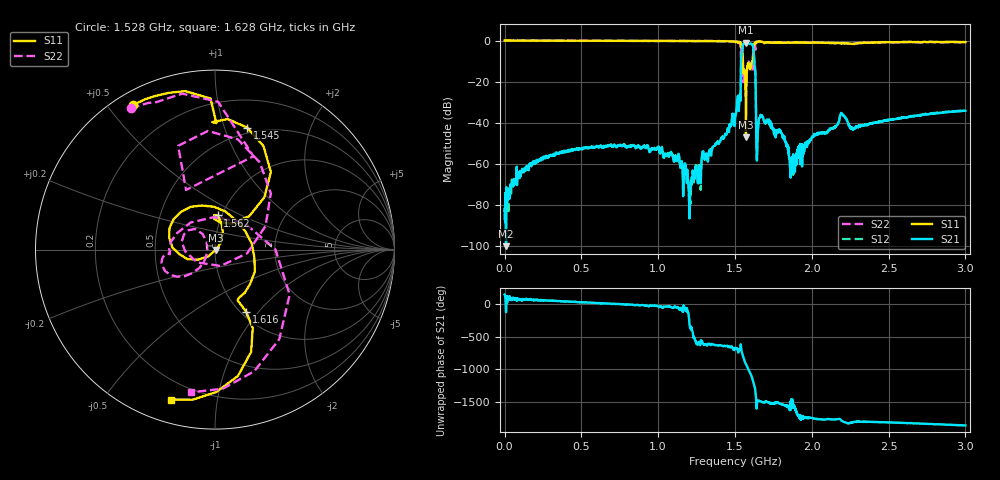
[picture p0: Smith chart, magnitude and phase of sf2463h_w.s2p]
!Agilent Technologies,E5070B,MY42401647,A.08.11
!Date: Wed Jan 24 15:42:49 2018
!Data & Calibration Information:
!Freq	S11:SOLT2(ON)	S21:SOLT2(ON)	S12:SOLT2(ON)	S22:SOLT2(ON)
# Hz S RI R 50
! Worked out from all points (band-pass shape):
!   1601 points, 300 kHz to 3 GHz, reference 50 ohm
!   highest |S21| = -1.02 dB at 1.571 GHz (marker M1); lowest = -100.2 dB at 9.674 MHz (marker M2)
!   |S21| within 3 dB of the highest: 1.548 GHz to 1.62 GHz (71.34 MHz wide, 4.5 % of centre)
!   lowest |S11| = -47.2 dB at 1.571 GHz (marker M3), VSWR 1.01, Z = 50.4 - j0.217 ohm
!   |S11| at or under -10 dB: 1.552 GHz to 1.613 GHz (61.32 MHz wide, 3.88 % of centre)
!   |S22| runs from -27.1 to 0.0 dB; largest |S21 - S12| = 0.024
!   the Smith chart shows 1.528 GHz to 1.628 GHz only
!   S11 on the Smith chart (normalised r, x): 1.528 GHz: 0.05, +0.58; 1.545 GHz: 0.44, +1.20; 1.562 GHz: 0.96, +0.38; 1.616 GHz: 1.06, -0.86; 1.628 GHz: 0.11, -0.74
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300000  1.003 -0.00388  -6.01e-05 3.49e-05  -5.38e-05 -2.7e-05  1.004 0.000565
9674063  0.9995 -0.0189  -5.27e-06 -8.22e-06  -1.57e-05 2.84e-05  0.9993 -0.0182
1.746576e8  0.9338 -0.3535  0.000365 0.000886  0.000358 0.00078  0.9357 -0.3418
5.008749e8  0.5002 -0.8543  0.00193 0.00118  0.00199 0.00118  0.5239 -0.838
1.00145e9  -0.5148 -0.8294  0.00212 -0.00153  0.00215 -0.00168  -0.4579 -0.8607
1.140186e9  -0.753 -0.6275  3.39e-05 -0.00102  0.000292 -0.00104  -0.6975 -0.6812
1.207679e9  -0.8435 -0.4868  0.000164 -2.79e-05  0.000128 7.25e-05  -0.7975 -0.5652
1.50015e9  -0.753 0.5652  0.00751 0.00901  0.00757 0.00916  -0.8224 0.4861
1.528272e9  -0.4593 0.8055  0.0333 0.0183  0.034 0.0177  -0.4685 0.7872
1.545146e9  0.1792 0.68  0.4691 -0.1832  0.4744 -0.1705  0.1266 0.6145
1.562019e9  0.0146 0.1905  -0.7624 -0.3898  -0.7669 -0.3896  -0.1724 0.0851
1.571393e9  0.0038 -0.00215  -0.8086 0.3706  -0.803 0.3864  -0.0423 -0.0124
1.59764e9  0.1172 0.1631  0.7393 0.386  0.7516 0.3738  -0.2638 -0.0237
1.616388e9  0.1743 -0.3465  -0.0306 -0.7595  -0.0328 -0.753  0.1659 0.147
1.627637e9  -0.2446 -0.8355  -0.2545 0.0314  -0.2527 0.0371  -0.1311 -0.7944
1.65201e9  -0.8182 -0.4701  0.00678 -0.00619  0.0066 -0.00657  -0.7675 -0.564
1.798245e9  -0.8509 0.3007  -0.000328 -0.00567  -0.000341 -0.0055  -0.8644 0.221
1.869488e9  -0.764 0.4693  0.00111 -0.000566  0.000982 -0.000641  -0.8066 0.3916
2.000725e9  -0.5716 0.6794  0.00294 0.00342  0.00304 0.00328  -0.6433 0.6136
2.19758e9  -0.244 0.8172  0.0163 -6.26e-05  0.0162 -0.000816  -0.3505 0.7982
2.5013e9  0.2324 0.8824  0.011 -0.00371  0.0111 -0.00402  0.1286 0.9012
3e9  0.8424 0.3583  0.00811 -0.0178  0.00777 -0.0183  0.8015 0.4185
